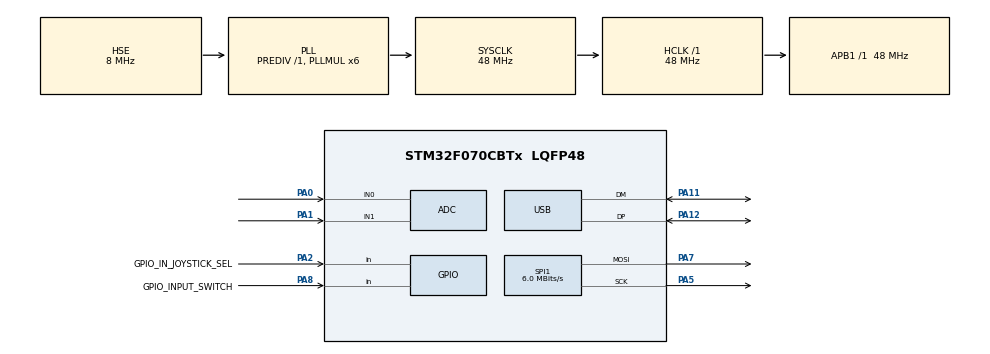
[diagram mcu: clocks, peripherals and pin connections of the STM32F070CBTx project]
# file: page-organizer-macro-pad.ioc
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ADC.DiscontinuousConvMode=ENABLE
ADC.SamplingTime=ADC_SAMPLETIME_71CYCLES_5
Mcu.Family=STM32F0
Mcu.Name=STM32F070CBTx
Mcu.Package=LQFP48
NVIC.USB_IRQn=true\:0\:0\:false\:false\:true\:true\:true\:true
PA0.Mode=IN0
PA0.Signal=ADC_IN0
PA1.Mode=IN1
PA1.Signal=ADC_IN1
PA11.Mode=Device
PA11.Signal=USB_DM
PA12.Mode=Device
PA12.Signal=USB_DP
PA13.Mode=Serial_Wire
PA13.Signal=SYS_SWDIO
PA14.Mode=Serial_Wire
PA14.Signal=SYS_SWCLK
PA2.GPIO_Label=GPIO_IN_JOYSTICK_SEL
PA2.GPIO_PuPd=GPIO_PULLUP
PA2.Signal=GPIO_Input
PA5.Mode=TX_Only_Simplex_Unidirect_Master
PA5.Signal=SPI1_SCK
PA7.Mode=TX_Only_Simplex_Unidirect_Master
PA7.Signal=SPI1_MOSI
PA8.GPIO_Label=GPIO_INPUT_SWITCH
PA8.GPIO_PuPd=GPIO_PULLUP
PA8.Signal=GPIO_Input
PF0-OSC_IN.Mode=HSE-External-Oscillator
PF0-OSC_IN.Signal=RCC_OSC_IN
PF1-OSC_OUT.Mode=HSE-External-Oscillator
PF1-OSC_OUT.Signal=RCC_OSC_OUT
ProjectManager.HeapSize=0x200
ProjectManager.StackSize=0x400
ProjectManager.TargetToolchain=Makefile
RCC.AHBFreq_Value=48000000
RCC.APB1Freq_Value=48000000
RCC.APB1TimFreq_Value=48000000
RCC.HCLKFreq_Value=48000000
RCC.PLLMUL=RCC_PLL_MUL6
RCC.SYSCLKFreq_VALUE=48000000
RCC.SYSCLKSource=RCC_SYSCLKSOURCE_PLLCLK
SPI1.BaudRatePrescaler=SPI_BAUDRATEPRESCALER_8
SPI1.CalculateBaudRate=6.0 MBits/s
SPI1.Direction=SPI_DIRECTION_2LINES
SPI1.Mode=SPI_MODE_MASTER
SPI1.VirtualType=VM_MASTER
board=custom

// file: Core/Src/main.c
/* USER CODE BEGIN Header */
/**
 ******************************************************************************
 * @file           : main.c
 * @brief          : Main program body
 ******************************************************************************
 * @attention
 *
 * Copyright (c) 2023 STMicroelectronics.
 * All rights reserved.
 *
 * This software is licensed under terms that can be found in the LICENSE file
 * in the root directory of this software component.
 * If no LICENSE file comes with this software, it is provided AS-IS.
 *
 ******************************************************************************
 */
/* USER CODE END Header */
#include "main.h"
#include "adc.h"
#include "spi.h"
#include "usb.h"
#include "gpio.h"

/* USER CODE BEGIN Includes */
#include <stdbool.h>
#include <stdint.h>
#include <stdio.h>

#include "tusb.h"
#include "usb_descriptors.h"
#include "debounce.h"
/* USER CODE END Includes */

/* USER CODE BEGIN PD */
#define NUMBER_OF_BUTTONS 2
#define AXIS_MAX_VALUE 4028 / 2
#define AXIS_MIN_VALUE 0
#define AXIS_THRESHOLD AXIS_MAX_VALUE - 400
#define AXIS_RETURN_THRESHOLD AXIS_THRESHOLD - 200
#define QUEUE_LENGTH 8
/* USER CODE END PD */

void SystemClock_Config(void);
/* USER CODE BEGIN PFP */
static uint8_t keyboard_report[6] = {0, 0, 0, 0, 0, 0};
// For a more in depth example visit:
// https://github.com/hathach/tinyusb/blob/master/examples/device/hid_composite/src/main.c

// OLD HID SEND KEYCODE (part of the code)
// static void hid_send_keycode(int keycode, bool active)
//   // second parameter is keyboard modifier. Can be something like:
//   // KEYBOARD_MODIFIER_LEFTCTRL
//   // KEYBOARD_MODIFIER_LEFTSHIFT
//   // KEYBOARD_MODIFIER_LEFTALT
//   // KEYBOARD_MODIFIER_LEFTGUI
//   // KEYBOARD_MODIFIER_RIGHTCTRL
//   // KEYBOARD_MODIFIER_RIGHTSHIFT
//   // KEYBOARD_MODIFIER_RIGHTALT
//   // KEYBOARD_MODIFIER_RIGHTGUI

//   // EXAMPLE FROM JORT about keyboard shortcuts __________________________
//   // uint8_t macro_a_report[8] = {
//   //     HID_KEY_2,
//   //     HID_KEY_5,
//   //     HID_KEY_A,
//   //     0, 0, 0};
//   // uint8_t macro_a_modifiers = KEYBOARD_MODIFIER_LEFTGUI | KEYBOARD_MODIFIER_LEFTSHIFT;
//   // tud_hid_keyboard_report(REPORT_ID_KEYBOARD, macro_a_modifiers, macro_a_report);
//   // END EXAMPLE FROM JORT __________________________
// }

static bool report_complete = true;
uint32_t report_send_time = 0;
// Invoked when sent REPORT successfully to host
// Application can use this to send the next report
// Note: For composite reports, report[0] is report ID
void tud_hid_report_complete_cb(uint8_t instance, uint8_t const *report, uint16_t len)
{
  (void)instance;
  (void)len;

  // uint8_t next_report_id = report[0] + 1u;

  // if (next_report_id < REPORT_ID_COUNT) {
  //   // send_hid_report(next_report_id, board_button_read());
  // }
  report_complete = true;
}
static void hid_send_keycode(uint8_t keycode, uint8_t modifiers, bool active)
{
  // skip if HID is not ready
  if (!tud_hid_ready())
    return;

  const int keyboard_report_size = (sizeof(keyboard_report) / sizeof(uint8_t));
  int keycode_index = -1;
  int first_empty_keycode_index = -1;

  for (int report_index = 0; report_index < keyboard_report_size; report_index++)
  {
    if (keyboard_report[report_index] == 0 && first_empty_keycode_index == -1)
    {
      first_empty_keycode_index = report_index;
    }
    if (keyboard_report[report_index] == keycode)
    {
      keycode_index = report_index;
    }
  }
  // button is on and should be sent
  if (active)
  {
    if (keycode_index != -1)
    {
      // already pressed
      return;
    }
    else
    {
      // add it to the first empty location
      keyboard_report[first_empty_keycode_index] = keycode;
    }
  }
  else
  {
    // inactive
    if (keycode_index != -1)
    {
      keyboard_report[keycode_index] = 0;
    }
  }

  if (!active)
  {
    modifiers = 0;
  }
  report_send_time = HAL_GetTick();
  report_complete = false;
  tud_hid_keyboard_report(REPORT_ID_KEYBOARD, modifiers, keyboard_report);
}

void wait_for_report_to_complete(uint32_t timeout)
{
  while (!report_complete && HAL_GetTick() - report_send_time <= timeout)
  {
    tud_task();
  }
}

void button_pressed(bool isPressed, uint8_t keycode, uint8_t modifiers)
{
  printf("keycode %d modifiers %d", keycode, modifiers);

  hid_send_keycode(keycode, modifiers, isPressed);
  // queue_keycode(keycode,  modifiers, isPressed);
}

// // CODE JORT __________________________________________
typedef enum joystick_direction_t
{
  JOYSTICK_TOP = 0,
  JOYSTICK_RIGHT_TOP,
  JOYSTICK_RIGHT,
  JOYSTICK_RIGHT_BOTTOM,
  JOYSTICK_BOTTOM,
  JOYSTICK_LEFT_BOTTOM,
  JOYSTICK_LEFT,
  JOYSTICK_LEFT_TOP,
} joystick_direction_t;

typedef enum joystick_mode_t
{
  JOYSTICK_MODE_MAGNET = 0,
  JOYSTICK_MODE_DESKTOPS,
  JOYSTICK_MODE_ARROW_KEYS,
  JOYSTICK_MODE_SCROLL,
} joystick_mode_t;

typedef struct keyboard_report_t
{
  uint8_t report[8];
  uint8_t modifier;
} keyboard_report_t;

keyboard_report_t mode_specific_commands[4][8] = {
    // modus 1 arrow keys
    {(keyboard_report_t){
         .report = {HID_KEY_ARROW_UP},
         .modifier = 0,
     },
     (keyboard_report_t){
         .report = {HID_KEY_ARROW_RIGHT},
         .modifier = 0,
     }},
    // modus 2 scroll
    {},
    // modus 3 magnet controls
    {},
    // modus 4 switch desktop
    {},

};

void send_joystick(joystick_mode_t mode, joystick_direction_t direction)
{
  printf("sendJoystick mode direction: %lu, %lu", mode, direction);
  // send this
  // mode_specific_commands[mode][direction]

  // copied from above
  // tud_hid_keyboard_report(REPORT_ID_KEYBOARD, macro_a_modifiers, macro_a_report);
}
// END CODE JORT __________________________________________

typedef struct button_definition_t
{
  GPIO_TypeDef *port;
  uint16_t pin;
  bool previous_button_state;
  debounce_t debounce;
  uint8_t keycode;
  uint8_t modifiers;
} button_definition_t;

button_definition_t buttons[NUMBER_OF_BUTTONS] = {
    {
        // Maximize
        .port = GPIO_INPUT_SWITCH_GPIO_Port,
        .pin = GPIO_INPUT_SWITCH_Pin,
        .previous_button_state = false,
        .debounce = {0},
        // .keycode = HID_KEY_BACKSPACE,
        // .modifiers = KEYBOARD_MODIFIER_LEFTALT | KEYBOARD_MODIFIER_LEFTCTRL,
    },
    {
        // Minimize
        .port = GPIO_IN_JOYSTICK_SEL_GPIO_Port,
        .pin = GPIO_IN_JOYSTICK_SEL_Pin,
        .previous_button_state = false,
        .debounce = {0},
        .keycode = HID_KEY_ENTER,
        .modifiers = KEYBOARD_MODIFIER_LEFTCTRL | KEYBOARD_MODIFIER_LEFTALT,
    }};

void initialize_buttons()
{
  for (uint32_t button_index = 0; button_index < NUMBER_OF_BUTTONS; button_index++)
  {
    buttons[button_index].debounce = debounce_init(HAL_GetTick, false, 5, NULL);
  }
}

int modus = 0;

void update_modus()
{
  if (modus < 2)
  {
    modus = modus + 1;
  }
  else
  {
    modus = 0;
  }
}

void buttons_check()
{
  for (uint32_t button_index = 0; button_index < NUMBER_OF_BUTTONS; button_index++)
  {
    button_definition_t current_button = buttons[button_index];

    // True if button is pressed, False if button is released
    bool current_button_state = debounce_update(&buttons[button_index].debounce, !HAL_GPIO_ReadPin(current_button.port, current_button.pin));

    if (current_button_state != current_button.previous_button_state)
    {
      if (current_button.pin == GPIO_INPUT_SWITCH_Pin && current_button_state)
      {
        update_modus();
      }
      // We got a change on the key
      button_pressed(current_button_state, current_button.keycode, current_button.modifiers);
      buttons[button_index].previous_button_state = current_button_state;
    }
  }
}

uint32_t joystick_axis[2] = {0};
void read_joystick()
{
  // configure channel one and start conversion
  ADC_ChannelConfTypeDef sConfig = {0};
  sConfig.Channel = ADC_CHANNEL_0;
  sConfig.Rank = ADC_RANK_CHANNEL_NUMBER;
  sConfig.SamplingTime = ADC_SAMPLETIME_71CYCLES_5;
  if (HAL_ADC_ConfigChannel(&hadc, &sConfig) != HAL_OK)
  {
    Error_Handler();
  }
  if (HAL_ADC_Start(&hadc) != HAL_OK)
  {
    Error_Handler();
  }
  if (HAL_ADC_PollForConversion(&hadc, 1000) != HAL_OK)
  {
    Error_Handler();
  }
  HAL_ADC_Stop(&hadc);
  joystick_axis[0] = HAL_ADC_GetValue(&hadc);

  // read out seconds axis
  // set channel 1 and disable channel 0
  sConfig.Channel = ADC_CHANNEL_0;
  sConfig.Rank = ADC_RANK_NONE;
  if (HAL_ADC_ConfigChannel(&hadc, &sConfig) != HAL_OK)
  {
    Error_Handler();
  }
  sConfig.Channel = ADC_CHANNEL_1;
  sConfig.Rank = ADC_RANK_CHANNEL_NUMBER;
  if (HAL_ADC_ConfigChannel(&hadc, &sConfig) != HAL_OK)
  {
    Error_Handler();
  }

  if (HAL_ADC_Start(&hadc) != HAL_OK)
  {
    Error_Handler();
  }
  if (HAL_ADC_PollForConversion(&hadc, 1000) != HAL_OK)
  {
    Error_Handler();
  }
  HAL_ADC_Stop(&hadc);
  joystick_axis[1] = HAL_ADC_GetValue(&hadc);

  // disable channel 1
  sConfig.Channel = ADC_CHANNEL_1;
  sConfig.Rank = ADC_RANK_NONE;
  if (HAL_ADC_ConfigChannel(&hadc, &sConfig) != HAL_OK)
  {
    Error_Handler();
  }

  printf("axis values: %lu, %lu", joystick_axis[0], joystick_axis[1]);
  axes_check(joystick_axis[0], joystick_axis[1]);
}

typedef struct axes_position_definition_t
{
  bool left;
  bool right;
  bool top;
  bool bottom;
} axes_position_definition_t;

axes_position_definition_t axes_position = {
    .left = false,
    .right = false,
    .top = false,
    .bottom = false,
};

bool check_axis_position(int16_t value, bool *previous_state)
{
  // Based on the previous state, use a different threshold to avoid overtriggering.
  if (*previous_state)
  {
    if (value < AXIS_RETURN_THRESHOLD)
    {
      *previous_state = false;
      return true;
    }
  }
  else
  {
    if (value > AXIS_THRESHOLD)
    {
      *previous_state = true;
      return true;
    }
  }
  return false;
}

void axes_check(uint32_t axis_horizontal, uint32_t axis_vertical)
{
  printf("axis values: %lu, %lu", joystick_axis[0], joystick_axis[1]);
  int16_t calculated_vertical_axis = axis_vertical - AXIS_MAX_VALUE;
  int16_t calculated_horizontal_axis = axis_horizontal - AXIS_MAX_VALUE;

  bool has_update = false;

  // Horizontal
  if (check_axis_position(calculated_horizontal_axis * -1, &axes_position.left))
  {
    has_update = true;
  }
  if (check_axis_position(calculated_horizontal_axis, &axes_position.right))
  {
    has_update = true;
  }

  // Vertical
  if (check_axis_position(calculated_vertical_axis, &axes_position.top))
  {
    has_update = true;
  }
  if (check_axis_position(calculated_vertical_axis * -1, &axes_position.bottom))
  {
    has_update = true;
  }

  // If one of the computed values updated (so one of the thresholds is passed), do an update.
  if (has_update)
  {
    axes_changed(axes_position);
  }
}

void axes_changed(axes_position_definition_t position)
{
  // Define what keycombination needs to be sent based on the direction of the joystick.
  uint8_t keycode = 0;
  uint8_t modifiers = 0;
  if (!position.left && !position.right && !position.top && !position.bottom)
  {
    return;
  }
  if (position.left)
  {
    if (modus == 0)
    {
      keycode = HID_KEY_ARROW_LEFT;
      modifiers = KEYBOARD_MODIFIER_LEFTCTRL | KEYBOARD_MODIFIER_LEFTALT;
    }
    if (modus == 1)
    {
      keycode = HID_KEY_ARROW_LEFT;
      modifiers = KEYBOARD_MODIFIER_LEFTCTRL;
    }
    if (modus == 2)
    {
      keycode = HID_KEY_ARROW_LEFT;
    }
  }
  if (position.right)
  {
    if (modus == 0)
    {
      keycode = HID_KEY_ARROW_RIGHT;
      modifiers = KEYBOARD_MODIFIER_LEFTCTRL | KEYBOARD_MODIFIER_LEFTALT;
    }
    if (modus == 1)
    {
      keycode = HID_KEY_ARROW_RIGHT;
      modifiers = KEYBOARD_MODIFIER_LEFTCTRL;
    }
    if (modus == 2)
    {
      keycode = HID_KEY_ARROW_RIGHT;
    }
  }
  if (position.top)
  {
    if (modus == 0)
    {
      keycode = HID_KEY_ARROW_UP;
      modifiers = KEYBOARD_MODIFIER_LEFTCTRL | KEYBOARD_MODIFIER_LEFTALT;
    }
    if (modus == 2)
    {
      keycode = HID_KEY_ARROW_UP;
    }
  }
  if (position.bottom)
  {
    if (modus == 0)
    {
      keycode = HID_KEY_ARROW_DOWN;
      modifiers = KEYBOARD_MODIFIER_LEFTCTRL | KEYBOARD_MODIFIER_LEFTALT;
    }
    if (modus == 2)
    {
      keycode = HID_KEY_ARROW_DOWN;
    }
  }

  // Send the keycombination, and directly turn it off to avoid retriggering.
  hid_send_keycode(keycode, modifiers, true);
  wait_for_report_to_complete(100);
  hid_send_keycode(keycode, modifiers, false);

  // queue_keycode(keycode,  modifiers, true);
  // queue_keycode(keycode,  modifiers, false);
}

/* USER CODE END PFP */

int main(void)
{

  /* MCU Configuration--------------------------------------------------------*/

  /* Reset of all peripherals, Initializes the Flash interface and the Systick. */
  HAL_Init();

  /* Configure the system clock */
  SystemClock_Config();

  /* Initialize all configured peripherals */
  MX_GPIO_Init();
  MX_ADC_Init();
  MX_SPI1_Init();
  MX_USB_PCD_Init();
  /* USER CODE BEGIN 2 */
  tud_init(BOARD_TUD_RHPORT);
  initialize_buttons();
  /* USER CODE END 2 */

  /* Infinite loop */
  /* USER CODE BEGIN WHILE */
  while (1)
  {
    buttons_check();
    read_joystick();
    tud_task();
    /* USER CODE END WHILE */

  }
}

void SystemClock_Config(void)
{
  RCC_OscInitTypeDef RCC_OscInitStruct = {0};
  RCC_ClkInitTypeDef RCC_ClkInitStruct = {0};
  RCC_PeriphCLKInitTypeDef PeriphClkInit = {0};

  /** Initializes the RCC Oscillators according to the specified parameters
   * in the RCC_OscInitTypeDef structure.
   */
  RCC_OscInitStruct.OscillatorType = RCC_OSCILLATORTYPE_HSI14 | RCC_OSCILLATORTYPE_HSE;
  RCC_OscInitStruct.HSEState = RCC_HSE_ON;
  RCC_OscInitStruct.HSI14State = RCC_HSI14_ON;
  RCC_OscInitStruct.HSI14CalibrationValue = 16;
  RCC_OscInitStruct.PLL.PLLState = RCC_PLL_ON;
  RCC_OscInitStruct.PLL.PLLSource = RCC_PLLSOURCE_HSE;
  RCC_OscInitStruct.PLL.PLLMUL = RCC_PLL_MUL6;
  RCC_OscInitStruct.PLL.PREDIV = RCC_PREDIV_DIV1;
  if (HAL_RCC_OscConfig(&RCC_OscInitStruct) != HAL_OK)
  {
    Error_Handler();
  }

  /** Initializes the CPU, AHB and APB buses clocks
   */
  RCC_ClkInitStruct.ClockType = RCC_CLOCKTYPE_HCLK | RCC_CLOCKTYPE_SYSCLK | RCC_CLOCKTYPE_PCLK1;
  RCC_ClkInitStruct.SYSCLKSource = RCC_SYSCLKSOURCE_PLLCLK;
  RCC_ClkInitStruct.AHBCLKDivider = RCC_SYSCLK_DIV1;
  RCC_ClkInitStruct.APB1CLKDivider = RCC_HCLK_DIV1;

  if (HAL_RCC_ClockConfig(&RCC_ClkInitStruct, FLASH_LATENCY_1) != HAL_OK)
  {
    Error_Handler();
  }
  PeriphClkInit.PeriphClockSelection = RCC_PERIPHCLK_USB;
  PeriphClkInit.UsbClockSelection = RCC_USBCLKSOURCE_PLL;

  if (HAL_RCCEx_PeriphCLKConfig(&PeriphClkInit) != HAL_OK)
  {
    Error_Handler();
  }
}

void Error_Handler(void)
{
  __disable_irq();
  while (1)
  {
  }
}

#ifdef USE_FULL_ASSERT
/**
 * @brief  Reports the name of the source file and the source line number
 *         where the assert_param error has occurred.
 * @param  file: pointer to the source file name
 * @param  line: assert_param error line source number
 * @retval None
 */
void assert_failed(uint8_t *file, uint32_t line)
{
  /* USER CODE BEGIN 6 */
  /* User can add his own implementation to report the file name and line
     number, ex: printf("Wrong parameters value: file %s on line %d\r\n", file,
     line) */
  /* USER CODE END 6 */
}
#endif /* USE_FULL_ASSERT */
